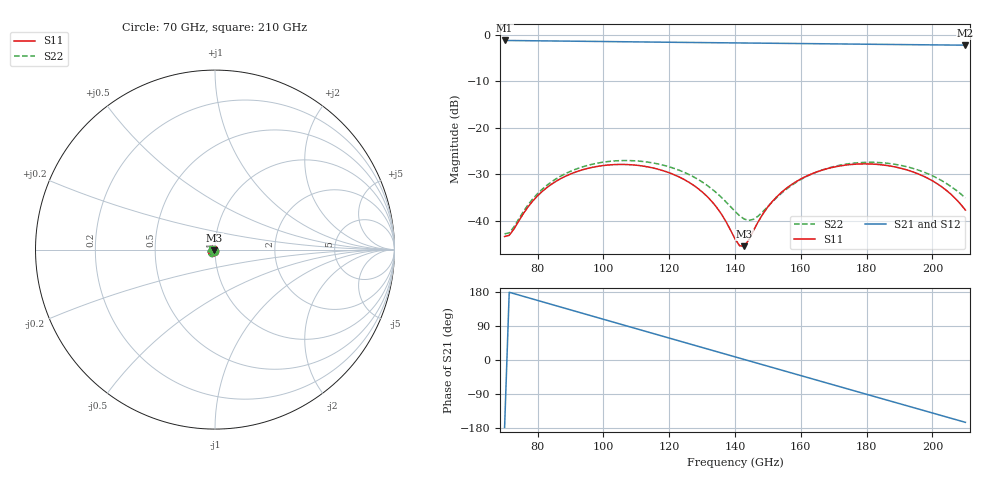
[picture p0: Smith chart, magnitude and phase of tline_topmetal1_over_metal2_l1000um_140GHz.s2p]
#  GHZ S DB R 50
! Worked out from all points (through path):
!   101 points, 70 GHz to 210 GHz, reference 50 ohm
!   highest |S21| = -1.27 dB at 70 GHz (marker M1); lowest = -2.3 dB at 210 GHz (marker M2)
!   group delay of S21, straight-line fit = 6.88 ps
!   lowest |S11| = -45.4 dB at 142.8 GHz (marker M3), VSWR 1.01, Z = 49.7 - j0.422 ohm
!   |S11| at or under -10 dB: start of sweep to end of sweep
!   |S22| runs from -42.8 to -27.0 dB; largest |S21 - S12| = 9.8e-14
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70  -43.35 -122.3  -1.27 -177.8  -1.27 -177.8  -42.77 -122.1
71.4  -43.08 -103.8  -1.28 178.7  -1.28 178.7  -42.56 -103.7
77  -37.10 -73.9  -1.33 164.8  -1.33 164.8  -36.66 -73.0
81.2  -33.81 -75.8  -1.36 154.3  -1.36 154.3  -33.33 -74.4
86.8  -31.01 -85.5  -1.40 140.4  -1.40 140.4  -30.47 -83.5
93.8  -29.00 -101.0  -1.45 122.9  -1.45 122.9  -28.37 -98.4
105  -27.88 -127.8  -1.54 95.1  -1.54 95.1  -27.06 -124.1
117.6  -29.10 -157.7  -1.64 63.8  -1.64 63.8  -27.93 -152.1
124.6  -31.13 -172.9  -1.69 46.5  -1.69 46.5  -29.58 -165.7
131.6  -34.80 175.5  -1.74 29.1  -1.74 29.1  -32.40 -175.3
135.8  -38.45 174.3  -1.77 18.7  -1.77 18.7  -34.89 -176.1
140  -43.84 -167.3  -1.80 8.3  -1.80 8.3  -37.94 -167.3
141.4  -45.33 -149.7  -1.81 4.9  -1.81 4.9  -38.89 -160.6
142.8  -45.41 -127.5  -1.82 1.4  -1.82 1.4  -39.60 -151.6
145.6  -42.09 -98.0  -1.84 -5.5  -1.84 -5.5  -39.65 -130.6
152.6  -34.87 -90.2  -1.88 -22.8  -1.88 -22.8  -35.03 -105.2
163.8  -29.75 -109.6  -1.96 -50.6  -1.96 -50.6  -29.79 -114.4
176.4  -27.82 -137.2  -2.05 -81.7  -2.05 -81.7  -27.57 -137.9
187.6  -28.27 -161.8  -2.14 -109.3  -2.14 -109.3  -27.74 -160.0
200.2  -31.48 173.6  -2.22 -140.4  -2.22 -140.4  -30.38 178.6
205.8  -34.39 166.8  -2.26 -154.1  -2.26 -154.1  -32.70 173.4
210  -37.67 167.7  -2.28 -164.5  -2.28 -164.5  -35.05 174.5
